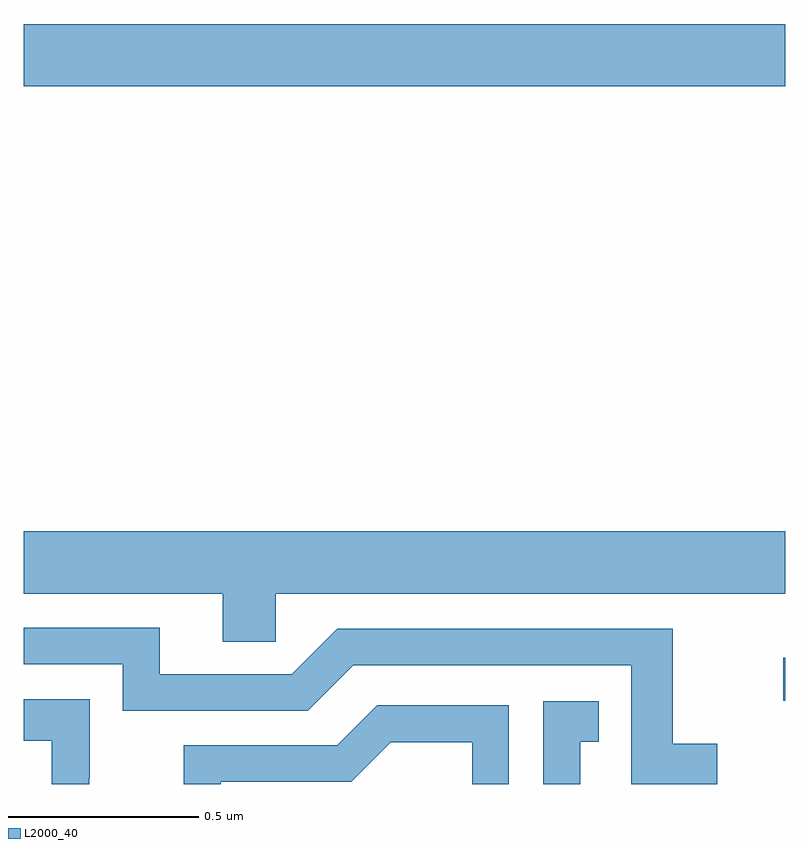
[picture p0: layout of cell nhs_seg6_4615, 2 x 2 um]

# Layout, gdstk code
import gdstk
lib = gdstk.Library(unit=1e-6, precision=1e-09)
def R(c, l, rs):  # rectangles x0, y0, x1, y1
    for r in rs: c.add(gdstk.rectangle(r[:2], r[2:], *l))
def P(c, l, *ps):  # polygons
    for p in ps: c.add(gdstk.Polygon(p, *l))
L2000_40 = (2000, 40)

nhs_seg6_4615 = lib.new_cell('nhs_seg6_4615')
R(nhs_seg6_4615, L2000_40, [(173.995,949.718,174,949.831), (172,951.332,174,951.496)])
P(nhs_seg6_4615, L2000_40, [(172.662,950),(174,950),(174,950.164),(172,950.164),(172,950),(172.523,950),(172.523,949.873),(172.662,949.873)],
  [(173.822,949.606),(173.704,949.606),(173.704,949.908),(172.824,949.908),(172.704,949.788),(172.357,949.788),(172.357,949.911),(172,949.911),(172,949.815),(172.26,949.815),(172.26,949.692),(172.746,949.692),(172.866,949.812),(173.595,949.812),(173.595,949.5),(173.822,949.5)],
  [(172.172,949.517),(172.173,949.517),(172.173,949.723),(172,949.723),(172,949.613),(172.073,949.613),(172.073,949.5),(172.172,949.5)],
  [(173.461,949.611),(173.51,949.611),(173.51,949.717),(173.364,949.717),(173.364,949.5),(173.461,949.5)],
  [(172.518,949.506),(172.86,949.506),(172.964,949.61),(173.178,949.61),(173.178,949.5),(173.274,949.5),(173.274,949.707),(172.928,949.707),(172.823,949.602),(172.42,949.602),(172.42,949.5),(172.518,949.5)])

lib.write_gds('nhs_seg6_4615.gds')
